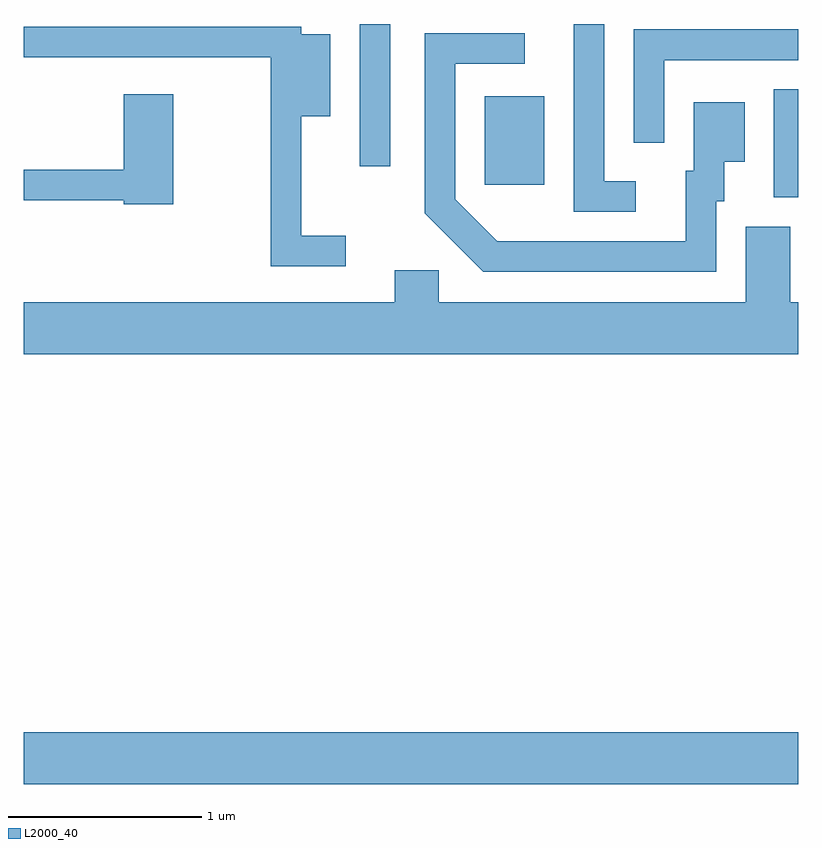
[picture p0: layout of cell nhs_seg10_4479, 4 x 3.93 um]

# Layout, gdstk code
import gdstk
lib = gdstk.Library(unit=1e-6, precision=1e-09)
def R(c, l, rs):  # rectangles x0, y0, x1, y1
    for r in rs: c.add(gdstk.rectangle(r[:2], r[2:], *l))
def P(c, l, *ps):  # polygons
    for p in ps: c.add(gdstk.Polygon(p, *l))
L2000_40 = (2000, 40)

nhs_seg10_4479 = lib.new_cell('nhs_seg10_4479')
R(nhs_seg10_4479, L2000_40, [(317.611,2100.596,321.611,2100.864), (321.486,2103.626,321.611,2104.184), (319.991,2103.691,320.299,2104.149), (319.346,2103.788,319.504,2104.522)])
P(nhs_seg10_4479, L2000_40, [(320.773,2103.709),(320.609,2103.709),(320.609,2104.522),(320.451,2104.522),(320.451,2103.551),(320.773,2103.551)],
  [(319.273,2103.429),(319.044,2103.429),(319.044,2104.046),(319.194,2104.046),(319.194,2104.469),(319.044,2104.469),(319.044,2104.509),(317.611,2104.509),(317.611,2104.351),(318.886,2104.351),(318.886,2103.271),(319.273,2103.271)],
  [(320.919,2104.336),(321.611,2104.336),(321.611,2104.494),(320.761,2104.494),(320.761,2103.908),(320.919,2103.908)],
  [(321.189,2103.606),(321.229,2103.606),(321.229,2103.811),(321.334,2103.811),(321.334,2104.119),(321.071,2104.119),(321.071,2103.764),(321.031,2103.764),(321.031,2103.399),(320.057,2103.399),(319.839,2103.617),(319.839,2104.316),(320.198,2104.316),(320.198,2104.474),(319.681,2104.474),(319.681,2103.544),(319.984,2103.241),(321.189,2103.241)],
  [(318.384,2104.159),(318.126,2104.159),(318.126,2103.769),(317.611,2103.769),(317.611,2103.611),(318.126,2103.611),(318.126,2103.591),(318.384,2103.591)],
  [(321.611,2103.084),(321.569,2103.084),(321.569,2103.474),(321.341,2103.474),(321.341,2103.084),(319.754,2103.084),(319.754,2103.249),(319.526,2103.249),(319.526,2103.084),(317.611,2103.084),(317.611,2102.816),(321.611,2102.816)])

lib.write_gds('nhs_seg10_4479.gds')
